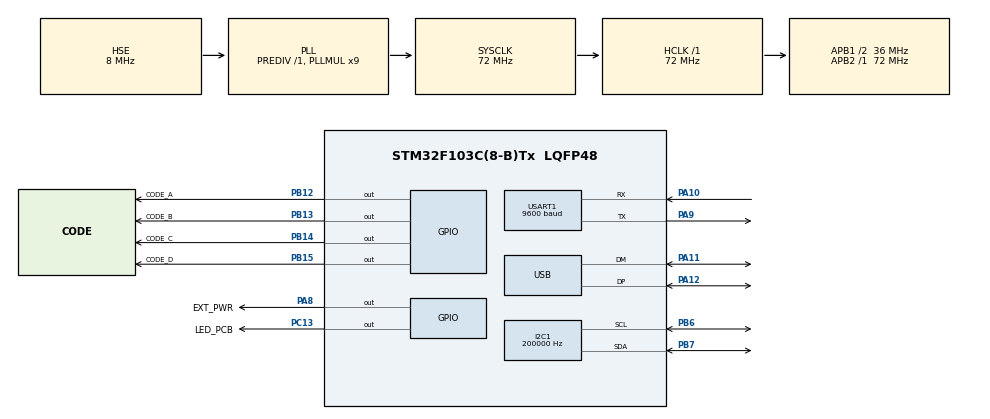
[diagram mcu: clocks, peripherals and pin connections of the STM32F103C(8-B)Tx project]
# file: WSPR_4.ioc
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I2C1.ClockSpeed=200000
I2C1.I2C_Mode=I2C_Fast
Mcu.Family=STM32F1
Mcu.Name=STM32F103C(8-B)Tx
Mcu.Package=LQFP48
NVIC.PriorityGroup=NVIC_PRIORITYGROUP_4
NVIC.USART1_IRQn=true\:0\:0\:false\:false\:true\:true\:true\:true
NVIC.USB_LP_CAN1_RX0_IRQn=true\:0\:0\:false\:false\:true\:false\:true\:true
PA10.Mode=Asynchronous
PA10.Signal=USART1_RX
PA11.Mode=Device
PA11.Signal=USB_DM
PA12.Mode=Device
PA12.Signal=USB_DP
PA13.Mode=Serial_Wire
PA13.Signal=SYS_JTMS-SWDIO
PA14.Mode=Serial_Wire
PA14.Signal=SYS_JTCK-SWCLK
PA8.GPIO_Label=EXT_PWR
PA8.Signal=GPIO_Output
PA9.Mode=Asynchronous
PA9.Signal=USART1_TX
PB12.GPIO_Label=CODE_A
PB12.Signal=GPIO_Output
PB13.GPIO_Label=CODE_B
PB13.Signal=GPIO_Output
PB14.GPIO_Label=CODE_C
PB14.Signal=GPIO_Output
PB15.GPIO_Label=CODE_D
PB15.Signal=GPIO_Output
PB6.Mode=I2C
PB6.Signal=I2C1_SCL
PB7.Mode=I2C
PB7.Signal=I2C1_SDA
PC13-TAMPER-RTC.GPIO_Label=LED_PCB
PC13-TAMPER-RTC.PinState=GPIO_PIN_SET
PC13-TAMPER-RTC.Signal=GPIO_Output
PD0-OSC_IN.Mode=HSE-External-Oscillator
PD0-OSC_IN.Signal=RCC_OSC_IN
PD1-OSC_OUT.Mode=HSE-External-Oscillator
PD1-OSC_OUT.Signal=RCC_OSC_OUT
ProjectManager.HeapSize=0x200
ProjectManager.StackSize=0x400
ProjectManager.TargetToolchain=STM32CubeIDE
RCC.AHBFreq_Value=72000000
RCC.APB1CLKDivider=RCC_HCLK_DIV2
RCC.APB1Freq_Value=36000000
RCC.APB1TimFreq_Value=72000000
RCC.APB2Freq_Value=72000000
RCC.APB2TimFreq_Value=72000000
RCC.HCLKFreq_Value=72000000
RCC.PLLMUL=RCC_PLL_MUL9
RCC.PLLSourceVirtual=RCC_PLLSOURCE_HSE
RCC.SYSCLKFreq_VALUE=72000000
RCC.SYSCLKSource=RCC_SYSCLKSOURCE_PLLCLK
RCC.USBFreq_Value=48000000
RCC.USBPrescaler=RCC_USBCLKSOURCE_PLL_DIV1_5
USART1.BaudRate=9600
USART1.Mode=MODE_TX_RX
USART1.VirtualMode=VM_ASYNC
USB_DEVICE.CLASS_NAME_FS=CDC
USB_DEVICE.VirtualMode=Cdc
USB_DEVICE.VirtualModeFS=Cdc_FS
VP_USB_DEVICE_VS_USB_DEVICE_CDC_FS.Mode=CDC_FS
board=custom

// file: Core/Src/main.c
/* USER CODE BEGIN Header */
/**
  ******************************************************************************
  * @file           : main.c
  * @brief          : Main program body
  ******************************************************************************
  * @attention
  *
  * Copyright (c) 2025 STMicroelectronics.
  * All rights reserved.
  *
  * This software is licensed under terms that can be found in the LICENSE file
  * in the root directory of this software component.
  * If no LICENSE file comes with this software, it is provided AS-IS.
  *
  ******************************************************************************
  */
/* USER CODE END Header */
#include "main.h"
#include "usb_device.h"

/* USER CODE BEGIN Includes */

#include "led_pcb.h"
#include "vcp.h"
#include "gps.h"
#include "i2c.h"
#include "si5351a.h"
#include "wspr.h"

/* USER CODE END Includes */

I2C_HandleTypeDef hi2c1;

UART_HandleTypeDef huart1;

void SystemClock_Config(void);
static void MX_GPIO_Init(void);
static void MX_USART1_UART_Init(void);
static void MX_I2C1_Init(void);

int main(void)
{

  /* MCU Configuration--------------------------------------------------------*/

  /* Reset of all peripherals, Initializes the Flash interface and the Systick. */
  HAL_Init();

  /* Configure the system clock */
  SystemClock_Config();

  /* Initialize all configured peripherals */
  MX_GPIO_Init();
  MX_USB_DEVICE_Init();
  MX_USART1_UART_Init();
  MX_I2C1_Init();
  /* USER CODE BEGIN 2 */

  //Инициализация обмена данными по VCP
  VCP_Init();

  //Включаем прерывания от USART1 для GPS
  __HAL_UART_ENABLE_IT(&huart1, UART_IT_RXNE);

  //Инициализация GPS
  GPS_Init();

  //Сканирование I2C
  I2C_Scan();

  //Инициализация SI5351
  SI5351_Init();

  //Если SI5351 найдена на шине I2C, запускаем рабочий режим
  if (flagSI5351A)
  {
	  flag_wspr_on = true;
  }

  /* USER CODE END 2 */

  /* Infinite loop */
  /* USER CODE BEGIN WHILE */
  while (1)
  {
	//Индикатор рабочего режима - ожидание условий старта WSPR передачи
	if (flag_wspr_on && flagSI5351A) {Toggle_LED(); WSPR_Task();}
	else {if (flag_test_gen) {LED_ON();} else {LED_OFF();}}

	if (flag_vcp_rx) {VCP_Parse_Str_RX();}		//Обрабатываем команды из VCP
	if (flag_vcp_tx) {VCP_Transmit();}			//Отправляем данные в VCP
	if (flag_gps_ready) { GPS_Parse_Line();}	//Обработка GPS

    /* USER CODE END WHILE */

  }
}

void SystemClock_Config(void)
{
  RCC_OscInitTypeDef RCC_OscInitStruct = {0};
  RCC_ClkInitTypeDef RCC_ClkInitStruct = {0};
  RCC_PeriphCLKInitTypeDef PeriphClkInit = {0};

  /** Initializes the RCC Oscillators according to the specified parameters
  * in the RCC_OscInitTypeDef structure.
  */
  RCC_OscInitStruct.OscillatorType = RCC_OSCILLATORTYPE_HSE;
  RCC_OscInitStruct.HSEState = RCC_HSE_ON;
  RCC_OscInitStruct.HSEPredivValue = RCC_HSE_PREDIV_DIV1;
  RCC_OscInitStruct.HSIState = RCC_HSI_ON;
  RCC_OscInitStruct.PLL.PLLState = RCC_PLL_ON;
  RCC_OscInitStruct.PLL.PLLSource = RCC_PLLSOURCE_HSE;
  RCC_OscInitStruct.PLL.PLLMUL = RCC_PLL_MUL9;
  if (HAL_RCC_OscConfig(&RCC_OscInitStruct) != HAL_OK)
  {
    Error_Handler();
  }

  /** Initializes the CPU, AHB and APB buses clocks
  */
  RCC_ClkInitStruct.ClockType = RCC_CLOCKTYPE_HCLK|RCC_CLOCKTYPE_SYSCLK
                              |RCC_CLOCKTYPE_PCLK1|RCC_CLOCKTYPE_PCLK2;
  RCC_ClkInitStruct.SYSCLKSource = RCC_SYSCLKSOURCE_PLLCLK;
  RCC_ClkInitStruct.AHBCLKDivider = RCC_SYSCLK_DIV1;
  RCC_ClkInitStruct.APB1CLKDivider = RCC_HCLK_DIV2;
  RCC_ClkInitStruct.APB2CLKDivider = RCC_HCLK_DIV1;

  if (HAL_RCC_ClockConfig(&RCC_ClkInitStruct, FLASH_LATENCY_2) != HAL_OK)
  {
    Error_Handler();
  }
  PeriphClkInit.PeriphClockSelection = RCC_PERIPHCLK_USB;
  PeriphClkInit.UsbClockSelection = RCC_USBCLKSOURCE_PLL_DIV1_5;
  if (HAL_RCCEx_PeriphCLKConfig(&PeriphClkInit) != HAL_OK)
  {
    Error_Handler();
  }
}

static void MX_I2C1_Init(void)
{

  hi2c1.Instance = I2C1;
  hi2c1.Init.ClockSpeed = 200000;
  hi2c1.Init.DutyCycle = I2C_DUTYCYCLE_2;
  hi2c1.Init.OwnAddress1 = 0;
  hi2c1.Init.AddressingMode = I2C_ADDRESSINGMODE_7BIT;
  hi2c1.Init.DualAddressMode = I2C_DUALADDRESS_DISABLE;
  hi2c1.Init.OwnAddress2 = 0;
  hi2c1.Init.GeneralCallMode = I2C_GENERALCALL_DISABLE;
  hi2c1.Init.NoStretchMode = I2C_NOSTRETCH_DISABLE;
  if (HAL_I2C_Init(&hi2c1) != HAL_OK)
  {
    Error_Handler();
  }

}

static void MX_USART1_UART_Init(void)
{

  huart1.Instance = USART1;
  huart1.Init.BaudRate = 9600;
  huart1.Init.WordLength = UART_WORDLENGTH_8B;
  huart1.Init.StopBits = UART_STOPBITS_1;
  huart1.Init.Parity = UART_PARITY_NONE;
  huart1.Init.Mode = UART_MODE_TX_RX;
  huart1.Init.HwFlowCtl = UART_HWCONTROL_NONE;
  huart1.Init.OverSampling = UART_OVERSAMPLING_16;
  if (HAL_UART_Init(&huart1) != HAL_OK)
  {
    Error_Handler();
  }

}

static void MX_GPIO_Init(void)
{
  GPIO_InitTypeDef GPIO_InitStruct = {0};

  /* GPIO Ports Clock Enable */
  __HAL_RCC_GPIOC_CLK_ENABLE();
  __HAL_RCC_GPIOD_CLK_ENABLE();
  __HAL_RCC_GPIOB_CLK_ENABLE();
  __HAL_RCC_GPIOA_CLK_ENABLE();

  /*Configure GPIO pin Output Level */
  HAL_GPIO_WritePin(LED_PCB_GPIO_Port, LED_PCB_Pin, GPIO_PIN_SET);

  /*Configure GPIO pin Output Level */
  HAL_GPIO_WritePin(GPIOB, CODE_A_Pin|CODE_B_Pin|CODE_C_Pin|CODE_D_Pin, GPIO_PIN_RESET);

  /*Configure GPIO pin Output Level */
  HAL_GPIO_WritePin(EXT_PWR_GPIO_Port, EXT_PWR_Pin, GPIO_PIN_RESET);

  /*Configure GPIO pin : LED_PCB_Pin */
  GPIO_InitStruct.Pin = LED_PCB_Pin;
  GPIO_InitStruct.Mode = GPIO_MODE_OUTPUT_PP;
  GPIO_InitStruct.Pull = GPIO_NOPULL;
  GPIO_InitStruct.Speed = GPIO_SPEED_FREQ_LOW;
  HAL_GPIO_Init(LED_PCB_GPIO_Port, &GPIO_InitStruct);

  /*Configure GPIO pins : CODE_A_Pin CODE_B_Pin CODE_C_Pin CODE_D_Pin */
  GPIO_InitStruct.Pin = CODE_A_Pin|CODE_B_Pin|CODE_C_Pin|CODE_D_Pin;
  GPIO_InitStruct.Mode = GPIO_MODE_OUTPUT_PP;
  GPIO_InitStruct.Pull = GPIO_NOPULL;
  GPIO_InitStruct.Speed = GPIO_SPEED_FREQ_LOW;
  HAL_GPIO_Init(GPIOB, &GPIO_InitStruct);

  /*Configure GPIO pin : EXT_PWR_Pin */
  GPIO_InitStruct.Pin = EXT_PWR_Pin;
  GPIO_InitStruct.Mode = GPIO_MODE_OUTPUT_PP;
  GPIO_InitStruct.Pull = GPIO_NOPULL;
  GPIO_InitStruct.Speed = GPIO_SPEED_FREQ_LOW;
  HAL_GPIO_Init(EXT_PWR_GPIO_Port, &GPIO_InitStruct);

}

void Error_Handler(void)
{
  __disable_irq();
  while (1)
  {
  }
}
